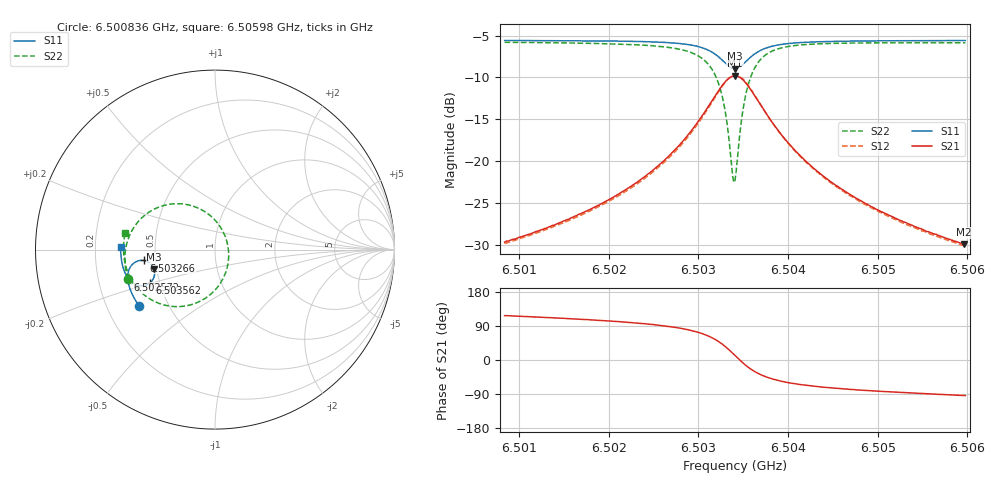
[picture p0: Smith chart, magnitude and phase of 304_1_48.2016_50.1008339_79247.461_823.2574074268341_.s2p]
#  HZ  S  RI  R  50.00
! Rohde & Schwarz Vector Network Analyzer
! Rohde-Schwarz,ZNB20-2Port,1311601062101988,3.16
! Created: UTC 3/20/2024, 11:49:41 AM
! freq[Hz]  re:S11  im:S11  re:S21  im:S21  re:S12  im:S12  re:S22  im:S22
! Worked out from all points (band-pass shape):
!   401 points, 6.500836 GHz to 6.50598 GHz, reference 50 ohm
!   highest |S21| = -9.80 dB at 6.503408 GHz (marker M1); lowest = -30.0 dB at 6.505967 GHz (marker M2)
!   |S21| within 3 dB of the highest: 6.50315 GHz to 6.503665 GHz (515 kHz wide, 0.00792 % of centre)
!   lowest |S11| = -9.0 dB at 6.503408 GHz (marker M3), VSWR 2.11, Z = 24.2 - j6.08 ohm
!   |S11| at or under -10 dB: nowhere
!   |S22| runs from -22.6 to -5.8 dB; largest |S21 - S12| = 0.011
!   S11 on the Smith chart (normalised r, x): 6.500836 GHz: 0.34, -0.30; 6.502572 GHz: 0.33, -0.15; 6.503266 GHz: 0.43, -0.06; 6.503562 GHz: 0.44, -0.20; 6.50598 GHz: 0.31, +0.01
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6.5008359e9  -0.421 -0.3162  -0.0149 0.0292  -0.0133 0.0294  -0.4865 -0.1643
6.5016975e9  -0.4587 -0.2536  -0.0145 0.0466  -0.0121 0.0461  -0.5015 -0.0745
6.5021604e9  -0.4755 -0.2133  -0.0119 0.065  -0.00886 0.064  -0.4996 -0.0105
6.502559e9  -0.4854 -0.1702  -0.00289 0.0946  0.000565 0.0924  -0.4811 0.0666
6.5025719e9  -0.4857 -0.1686  -0.00245 0.0959  0.00117 0.0936  -0.4798 0.0697
6.5028162e9  -0.485 -0.1334  0.0157 0.1288  0.0195 0.1251  -0.4416 0.1391
6.5029963e9  -0.4737 -0.1003  0.0503 0.1648  0.0535 0.1593  -0.3737 0.2049
6.5031634e9  -0.4391 -0.0673  0.1275 0.1978  0.1288 0.1915  -0.2318 0.2551
6.5032663e9  -0.3967 -0.0606  0.2121 0.1887  0.2125 0.1834  -0.0846 0.227
6.5033177e9  -0.3716 -0.0692  0.26 0.1607  0.2609 0.1562  -0.00518 0.1698
6.503382e9  -0.3453 -0.0955  0.3069 0.0977  0.3094 0.0927  0.0653 0.0484
6.5034078e9  -0.3391 -0.1097  0.3168 0.0661  0.3199 0.0601  0.0757 -0.0106
6.5034978e9  -0.3434 -0.1616  0.3024 -0.0436  0.3042 -0.0534  0.0187 -0.2035
6.5035621e9  -0.3643 -0.1869  0.2602 -0.0967  0.2589 -0.1077  -0.0764 -0.2842
6.503665e9  -0.403 -0.2016  0.1868 -0.1323  0.1815 -0.1414  -0.2236 -0.3175
6.5038321e9  -0.4486 -0.1919  0.1067 -0.1293  0.0999 -0.1342  -0.3681 -0.2716
6.5040122e9  -0.4757 -0.1704  0.0629 -0.1098  0.0569 -0.112  -0.439 -0.2077
6.5042693e9  -0.4962 -0.1405  0.0336 -0.086  0.0289 -0.0865  -0.4817 -0.1364
6.5046551e9  -0.5117 -0.1008  0.0147 -0.0632  0.0115 -0.0628  -0.5039 -0.062
6.5051309e9  -0.5211 -0.0572  0.00487 -0.047  0.00267 -0.0464  -0.5098 0.00368
6.5059668e9  -0.5258 0.0133  -0.00211 -0.0317  -0.0033 -0.031  -0.5018 0.0909
6.5059796e9  -0.5258 0.0143  -0.00211 -0.0317  -0.00341 -0.0308  -0.5016 0.092
